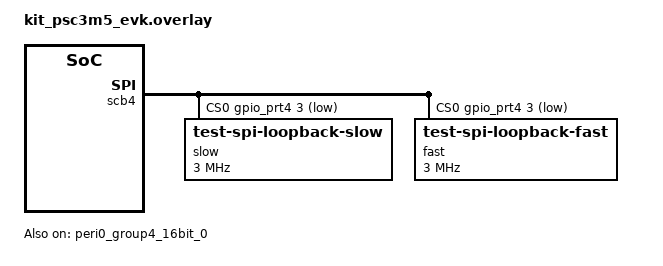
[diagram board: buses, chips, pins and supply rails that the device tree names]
/*
 * Copyright (c) 2025 Infineon Technologies AG,
 * or an affiliate of Infineon Technologies AG.
 *
 * SPDX-License-Identifier: Apache-2.0
 */

spi1: &scb4 {
	#address-cells = <1>;
	#size-cells = <0>;
	compatible = "infineon,cat1-spi-pdl";
	status = "okay";

	pinctrl-0 = <&p4_0_scb4_spi_m_mosi &p4_1_scb4_spi_m_miso &p4_2_scb4_spi_m_clk>;
	pinctrl-names = "default";
	cs-gpios = <&gpio_prt4 3 GPIO_ACTIVE_LOW>;

	clocks = <&peri0_group4_16bit_0>;

	slow@0 {
		compatible = "test-spi-loopback-slow";
		reg = <0>;
		spi-max-frequency = <3000000>;
	};

	fast@0 {
		compatible = "test-spi-loopback-fast";
		reg = <0>;
		spi-max-frequency = <3000000>;
	};
};

&gpio_prt4 {
	status = "okay";
};

&p4_0_scb4_spi_m_mosi {
	drive-strength = "full";
	drive-push-pull;
};

&p4_1_scb4_spi_m_miso {
	drive-strength = "full";
	input-enable;
};

&p4_2_scb4_spi_m_clk {
	drive-strength = "full";
	drive-push-pull;
};

&peri0_group4_16bit_0 {
	status = "okay";
	resource-type = <IFX_RSC_SCB>;
	resource-instance = <4>;
};
